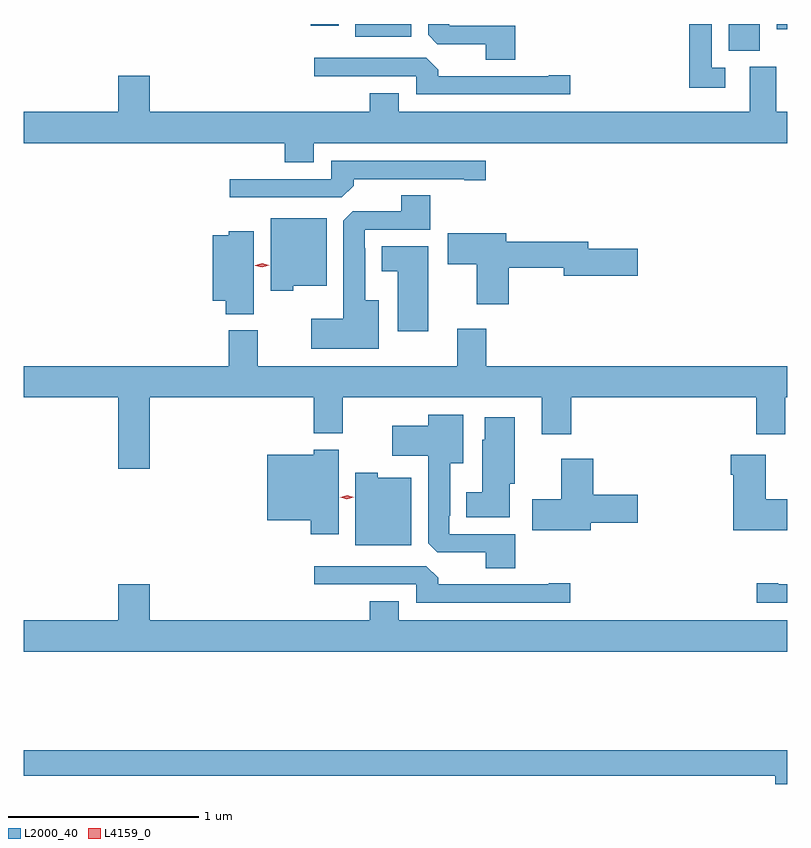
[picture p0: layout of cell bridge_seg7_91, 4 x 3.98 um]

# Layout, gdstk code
import gdstk
lib = gdstk.Library(unit=1e-6, precision=1e-09)
def R(c, l, rs):  # rectangles x0, y0, x1, y1
    for r in rs: c.add(gdstk.rectangle(r[:2], r[2:], *l))
def P(c, l, *ps):  # polygons
    for p in ps: c.add(gdstk.Polygon(p, *l))
L2000_40 = (2000, 40)
L4159_0 = (4159, 0)

bridge_seg7_91 = lib.new_cell('bridge_seg7_91')
R(bridge_seg7_91, L2000_40, [(1091.282,1003.765,1091.446,1003.905), (1089.326,1003.838,1089.619,1003.905), (1091.534,1003.877,1091.589,1003.905), (1089.092,1003.896,1089.238,1003.905)])
P(bridge_seg7_91, L2000_40, [(1090.163,1003.896),(1089.819,1003.896),(1089.819,1003.905),(1089.707,1003.905),(1089.707,1003.849),(1089.756,1003.8),(1090.01,1003.8),(1090.01,1003.717),(1090.163,1003.717)],
  [(1091.266,1003.677),(1091.193,1003.677),(1091.193,1003.905),(1091.077,1003.905),(1091.077,1003.572),(1091.266,1003.572)],
  [(1090.453,1003.637),(1090.34,1003.637),(1090.34,1003.632),(1089.761,1003.632),(1089.761,1003.666),(1089.699,1003.728),(1089.111,1003.728),(1089.111,1003.632),(1089.645,1003.632),(1089.645,1003.536),(1090.453,1003.536)],
  [(1089.109,1003.28),(1091.589,1003.28),(1091.589,1003.444),(1091.533,1003.444),(1091.533,1003.68),(1091.393,1003.68),(1091.393,1003.444),(1089.553,1003.444),(1089.553,1003.543),(1089.401,1003.543),(1089.401,1003.444),(1088.248,1003.444),(1088.248,1003.633),(1088.084,1003.633),(1088.084,1003.444),(1087.589,1003.444),(1087.589,1003.28),(1088.957,1003.28),(1088.957,1003.181),(1089.109,1003.181)],
  [(1089.317,1003.058),(1089.317,1003.092),(1089.896,1003.092),(1089.896,1003.087),(1090.009,1003.087),(1090.009,1003.188),(1089.201,1003.188),(1089.201,1003.092),(1088.667,1003.092),(1088.667,1002.996),(1089.255,1002.996)],
  [(1089.448,1002.457),(1089.379,1002.457),(1089.379,1002.731),(1089.375,1002.731),(1089.375,1002.828),(1089.719,1002.828),(1089.719,1003.007),(1089.566,1003.007),(1089.566,1002.924),(1089.312,1002.924),(1089.263,1002.875),(1089.263,1002.361),(1089.096,1002.361),(1089.096,1002.203),(1089.448,1002.203)],
  [(1089,1002.533),(1089.175,1002.533),(1089.175,1002.886),(1088.882,1002.886),(1088.882,1002.506),(1089,1002.506)],
  [(1088.794,1002.82),(1088.664,1002.82),(1088.664,1002.799),(1088.579,1002.799),(1088.579,1002.455),(1088.648,1002.455),(1088.648,1002.385),(1088.794,1002.385)],
  [(1090.13,1002.628),(1090.418,1002.628),(1090.418,1002.586),(1090.807,1002.586),(1090.807,1002.728),(1090.546,1002.728),(1090.546,1002.764),(1090.117,1002.764),(1090.117,1002.808),(1089.81,1002.808),(1089.81,1002.646),(1089.962,1002.646),(1089.962,1002.435),(1090.13,1002.435)],
  [(1089.709,1002.739),(1089.464,1002.739),(1089.464,1002.608),(1089.548,1002.608),(1089.548,1002.294),(1089.709,1002.294)],
  [(1088.248,1001.948),(1089.107,1001.948),(1089.107,1001.759),(1089.259,1001.759),(1089.259,1001.948),(1090.304,1001.948),(1090.304,1001.754),(1090.457,1001.754),(1090.457,1001.948),(1091.426,1001.948),(1091.426,1001.754),(1091.578,1001.754),(1091.578,1001.948),(1091.589,1001.948),(1091.589,1002.112),(1090.013,1002.112),(1090.013,1002.307),(1089.86,1002.307),(1089.86,1002.112),(1088.815,1002.112),(1088.815,1002.3),(1088.663,1002.3),(1088.663,1002.112),(1087.589,1002.112),(1087.589,1001.948),(1088.084,1001.948),(1088.084,1001.574),(1088.248,1001.574)],
  [(1090.163,1001.232),(1089.819,1001.232),(1089.819,1001.329),(1089.823,1001.329),(1089.823,1001.603),(1089.892,1001.603),(1089.892,1001.857),(1089.707,1001.857),(1089.707,1001.8),(1089.519,1001.8),(1089.519,1001.642),(1089.707,1001.642),(1089.707,1001.185),(1089.756,1001.136),(1090.01,1001.136),(1090.01,1001.053),(1090.163,1001.053)],
  [(1090.135,1001.496),(1090.162,1001.496),(1090.162,1001.845),(1090.004,1001.845),(1090.004,1001.727),(1089.992,1001.727),(1089.992,1001.452),(1089.908,1001.452),(1089.908,1001.321),(1090.135,1001.321)],
  [(1089.238,1001.674),(1089.108,1001.674),(1089.108,1001.647),(1088.864,1001.647),(1088.864,1001.303),(1089.092,1001.303),(1089.092,1001.232),(1089.238,1001.232)],
  [(1091.589,1001.415),(1091.476,1001.415),(1091.476,1001.647),(1091.294,1001.647),(1091.294,1001.543),(1091.306,1001.543),(1091.306,1001.252),(1091.589,1001.252)],
  [(1090.561,1001.291),(1090.807,1001.291),(1090.807,1001.438),(1090.574,1001.438),(1090.574,1001.626),(1090.406,1001.626),(1090.406,1001.415),(1090.254,1001.415),(1090.254,1001.252),(1090.561,1001.252)],
  [(1089.619,1001.527),(1089.444,1001.527),(1089.444,1001.554),(1089.326,1001.554),(1089.326,1001.174),(1089.619,1001.174)],
  [(1090.453,1000.973),(1090.34,1000.973),(1090.34,1000.968),(1089.761,1000.968),(1089.761,1001.002),(1089.699,1001.064),(1089.111,1001.064),(1089.111,1000.968),(1089.645,1000.968),(1089.645,1000.872),(1090.453,1000.872)],
  [(1091.589,1000.968),(1091.542,1000.968),(1091.542,1000.973),(1091.43,1000.973),(1091.43,1000.872),(1091.589,1000.872)],
  [(1091.589,1000.78),(1089.553,1000.78),(1089.553,1000.879),(1089.401,1000.879),(1089.401,1000.78),(1088.248,1000.78),(1088.248,1000.969),(1088.084,1000.969),(1088.084,1000.78),(1087.589,1000.78),(1087.589,1000.616),(1091.589,1000.616)],
  [(1091.589,1000.1),(1087.589,1000.1),(1087.589,999.964),(1091.528,999.964),(1091.528,999.922),(1091.589,999.922)])
P(bridge_seg7_91, L4159_0, [(1088.838,1002.63),(1088.801,1002.639),(1088.801,1002.639),(1088.801,1002.64),(1088.838,1002.65),(1088.875,1002.641),(1088.875,1002.641),(1088.875,1002.641)],
  [(1089.282,1001.415),(1089.246,1001.426),(1089.246,1001.426),(1089.246,1001.426),(1089.283,1001.435),(1089.319,1001.425),(1089.319,1001.424),(1089.319,1001.424)])

lib.write_gds('bridge_seg7_91.gds')
